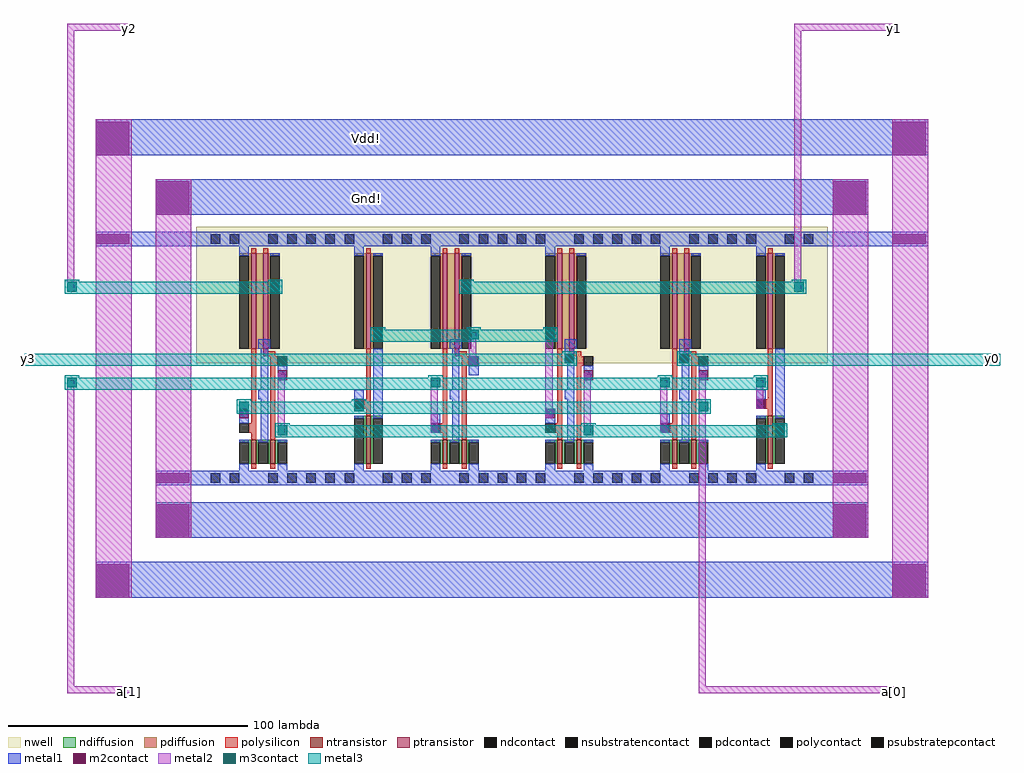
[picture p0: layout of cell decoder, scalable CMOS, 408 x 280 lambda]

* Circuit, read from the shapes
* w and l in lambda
.subckt decoder Gnd! Vdd! a[0] a[1] y0 y1 y2 y3
M1 y2 a[0] Gnd! Gnd! nfet w=10 l=2
M2 Gnd! NOR2X1_0/B y2 Gnd! nfet w=10 l=2
M3 NOR2X1_2/A a[0] Gnd! Gnd! nfet w=20 l=2
M4 y1 a[1] Gnd! Gnd! nfet w=10 l=2
M5 Gnd! NOR2X1_2/A y1 Gnd! nfet w=10 l=2
M6 y3 NOR2X1_2/A Gnd! Gnd! nfet w=10 l=2
M7 Gnd! NOR2X1_0/B y3 Gnd! nfet w=10 l=2
M8 y0 a[1] Gnd! Gnd! nfet w=10 l=2
M9 Gnd! a[0] y0 Gnd! nfet w=10 l=2
M10 NOR2X1_0/B a[1] Gnd! Gnd! nfet w=20 l=2
M11 n1 a[0] Vdd! Vdd! pfet w=40 l=2
M12 y2 NOR2X1_0/B n1 Vdd! pfet w=40 l=2
M13 NOR2X1_2/A a[0] Vdd! Vdd! pfet w=40 l=2
M14 n2 a[1] Vdd! Vdd! pfet w=40 l=2
M15 y1 NOR2X1_2/A n2 Vdd! pfet w=40 l=2
M16 n3 NOR2X1_2/A Vdd! Vdd! pfet w=40 l=2
M17 y3 NOR2X1_0/B n3 Vdd! pfet w=40 l=2
M18 n4 a[1] Vdd! Vdd! pfet w=40 l=2
M19 y0 a[0] n4 Vdd! pfet w=40 l=2
M20 NOR2X1_0/B a[1] Vdd! Vdd! pfet w=40 l=2
.ends

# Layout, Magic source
magic
tech scmos
<< metal1 >>
rect 30 225 378 240
rect 55 200 353 215
rect 30 187 378 193
rect 226 138 230 148
rect 274 138 278 148
rect 55 87 353 93
rect 55 65 353 80
rect 30 40 378 55
<< metal2 >>
rect 18 277 45 280
rect 322 277 365 280
rect 18 168 21 277
rect 18 3 21 131
rect 30 40 45 240
rect 55 65 70 215
rect 322 168 325 277
rect 186 137 189 151
rect 106 108 109 134
rect 170 109 173 131
rect 218 115 221 151
rect 234 108 237 134
rect 266 109 269 131
rect 282 3 285 134
rect 306 119 309 131
rect 338 65 353 215
rect 363 40 378 240
rect 18 0 45 3
rect 282 0 365 3
<< metal3 >>
rect 17 167 107 172
rect 182 167 326 172
rect 145 147 222 152
rect 0 137 230 142
rect 273 137 408 142
rect 17 127 310 132
rect 89 117 286 122
rect 105 107 318 112
use $$M2_M1_1500_1500_3_3  $$M2_M1_1500_1500_3_3_0
transform 1 0 37 0 1 232
box -7 -7 7 7
use $$M2_M1_1500_1500_3_3  $$M2_M1_1500_1500_3_3_1
transform 1 0 370 0 1 232
box -7 -7 7 7
use $$M2_M1_1500_1500_3_3  $$M2_M1_1500_1500_3_3_2
transform 1 0 62 0 1 207
box -7 -7 7 7
use $$M2_M1_1500_1500_3_3  $$M2_M1_1500_1500_3_3_3
transform 1 0 345 0 1 207
box -7 -7 7 7
use $$M2_M1_1500_1500_3_1  $$M2_M1_1500_1500_3_1_0
transform 1 0 37 0 1 190
box -7 -2 7 2
use $$M3_M2  $$M3_M2_0
transform 1 0 20 0 1 170
box -3 -3 3 3
use $$M3_M2  $$M3_M2_7
transform 1 0 20 0 1 130
box -3 -3 3 3
use $$M2_M1_1500_1500_3_1  $$M2_M1_1500_1500_3_1_2
transform 1 0 62 0 1 90
box -7 -2 7 2
use $$M2_M1  $$M2_M1_0
transform 1 0 105 0 1 170
box -2 -2 2 2
use $$M3_M2  $$M3_M2_1
transform 1 0 105 0 1 170
box -3 -3 3 3
use $$M3_M2  $$M3_M2_13
transform 1 0 92 0 1 120
box -3 -3 3 3
use $$M2_M1  $$M2_M1_11
transform 1 0 92 0 1 117
box -2 -2 2 2
use FILL  FILL_0
transform -1 0 88 0 1 90
box -8 -3 16 105
use $$M2_M1  $$M2_M1_3
transform 1 0 108 0 1 133
box -2 -2 2 2
use $$M3_M2  $$M3_M2_16
transform 1 0 108 0 1 110
box -3 -3 3 3
use NOR2X1  NOR2X1_0
transform 1 0 88 0 1 90
box -8 -3 32 105
use FILL  FILL_1
transform -1 0 120 0 1 90
box -8 -3 16 105
use FILL  FILL_2
transform -1 0 128 0 1 90
box -8 -3 16 105
use $$M2_M1  $$M2_M1_2
transform 1 0 148 0 1 150
box -2 -2 2 2
use $$M3_M2  $$M3_M2_4
transform 1 0 148 0 1 150
box -3 -3 3 3
use $$M2_M1  $$M2_M1_9
transform 1 0 140 0 1 121
box -2 -2 2 2
use $$M3_M2  $$M3_M2_14
transform 1 0 140 0 1 120
box -3 -3 3 3
use FILL  FILL_3
transform -1 0 136 0 1 90
box -8 -3 16 105
use INVX2  INVX2_0
transform 1 0 136 0 1 90
box -9 -3 26 105
use FILL  FILL_4
transform -1 0 160 0 1 90
box -8 -3 16 105
use $$M2_M1  $$M2_M1_1
transform 1 0 185 0 1 170
box -2 -2 2 2
use $$M3_M2  $$M3_M2_2
transform 1 0 185 0 1 170
box -3 -3 3 3
use $$M3_M2  $$M3_M2_10
transform 1 0 172 0 1 130
box -3 -3 3 3
use $$M2_M1  $$M2_M1_13
transform 1 0 172 0 1 111
box -2 -2 2 2
use FILL  FILL_5
transform -1 0 168 0 1 90
box -8 -3 16 105
use $$M3_M2  $$M3_M2_5
transform 1 0 188 0 1 150
box -3 -3 3 3
use $$M2_M1  $$M2_M1_6
transform 1 0 188 0 1 139
box -2 -2 2 2
use NOR2X1  NOR2X1_1
transform 1 0 168 0 1 90
box -8 -3 32 105
use FILL  FILL_6
transform -1 0 200 0 1 90
box -8 -3 16 105
use FILL  FILL_7
transform -1 0 208 0 1 90
box -8 -3 16 105
use $$M3_M2  $$M3_M2_6
transform 1 0 220 0 1 150
box -3 -3 3 3
use $$M2_M1  $$M2_M1_4
transform 1 0 228 0 1 140
box -2 -2 2 2
use $$M3_M2  $$M3_M2_8
transform 1 0 228 0 1 140
box -3 -3 3 3
use $$M2_M1  $$M2_M1_12
transform 1 0 220 0 1 117
box -2 -2 2 2
use FILL  FILL_8
transform -1 0 216 0 1 90
box -8 -3 16 105
use $$M2_M1  $$M2_M1_7
transform 1 0 236 0 1 133
box -2 -2 2 2
use $$M3_M2  $$M3_M2_17
transform 1 0 236 0 1 110
box -3 -3 3 3
use NOR2X1  NOR2X1_2
transform 1 0 216 0 1 90
box -8 -3 32 105
use FILL  FILL_9
transform -1 0 248 0 1 90
box -8 -3 16 105
use FILL  FILL_10
transform -1 0 256 0 1 90
box -8 -3 16 105
use $$M2_M1  $$M2_M1_5
transform 1 0 276 0 1 140
box -2 -2 2 2
use $$M3_M2  $$M3_M2_9
transform 1 0 276 0 1 140
box -3 -3 3 3
use $$M3_M2  $$M3_M2_11
transform 1 0 268 0 1 130
box -3 -3 3 3
use $$M2_M1  $$M2_M1_14
transform 1 0 268 0 1 111
box -2 -2 2 2
use FILL  FILL_11
transform -1 0 264 0 1 90
box -8 -3 16 105
use $$M2_M1  $$M2_M1_8
transform 1 0 284 0 1 133
box -2 -2 2 2
use $$M3_M2  $$M3_M2_15
transform 1 0 284 0 1 120
box -3 -3 3 3
use NOR2X1  NOR2X1_3
transform 1 0 264 0 1 90
box -8 -3 32 105
use FILL  FILL_12
transform -1 0 296 0 1 90
box -8 -3 16 105
use $$M3_M2  $$M3_M2_3
transform 1 0 324 0 1 170
box -3 -3 3 3
use $$M3_M2  $$M3_M2_12
transform 1 0 308 0 1 130
box -3 -3 3 3
use $$M2_M1  $$M2_M1_10
transform 1 0 308 0 1 121
box -2 -2 2 2
use FILL  FILL_13
transform -1 0 304 0 1 90
box -8 -3 16 105
use $$M2_M1  $$M2_M1_15
transform 1 0 316 0 1 110
box -2 -2 2 2
use $$M3_M2  $$M3_M2_18
transform 1 0 316 0 1 110
box -3 -3 3 3
use INVX2  INVX2_1
transform 1 0 304 0 1 90
box -9 -3 26 105
use FILL  FILL_14
transform -1 0 328 0 1 90
box -8 -3 16 105
use $$M2_M1_1500_1500_3_1  $$M2_M1_1500_1500_3_1_1
transform 1 0 370 0 1 190
box -7 -2 7 2
use $$M2_M1_1500_1500_3_1  $$M2_M1_1500_1500_3_1_3
transform 1 0 345 0 1 90
box -7 -2 7 2
use $$M2_M1_1500_1500_3_3  $$M2_M1_1500_1500_3_3_4
transform 1 0 62 0 1 72
box -7 -7 7 7
use $$M2_M1_1500_1500_3_3  $$M2_M1_1500_1500_3_3_5
transform 1 0 345 0 1 72
box -7 -7 7 7
use $$M2_M1_1500_1500_3_3  $$M2_M1_1500_1500_3_3_6
transform 1 0 37 0 1 47
box -7 -7 7 7
use $$M2_M1_1500_1500_3_3  $$M2_M1_1500_1500_3_3_7
transform 1 0 370 0 1 47
box -7 -7 7 7
<< labels >>
flabel metal3 2 140 2 140 4 FreeSans 26 0 0 0 y3
flabel metal2 364 278 364 278 4 FreeSans 26 0 0 0 y1
flabel metal2 44 278 44 278 4 FreeSans 26 0 0 0 y2
flabel metal3 405 140 405 140 4 FreeSans 26 0 0 0 y0
flabel metal2 364 1 364 1 4 FreeSans 26 0 0 0 a[0]
flabel metal2 44 1 44 1 4 FreeSans 26 0 0 0 a[1]
rlabel metal1 143 232 143 232 1 Vdd!
rlabel metal1 143 207 143 207 1 Gnd!
<< end >>

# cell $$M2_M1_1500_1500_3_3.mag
magic
tech scmos
<< m2contact >>
rect -7 -7 7 7
<< end >>

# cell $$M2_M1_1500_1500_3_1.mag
magic
tech scmos
<< m2contact >>
rect -7 -2 7 2
<< end >>

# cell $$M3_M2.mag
magic
tech scmos
<< m3contact >>
rect -2 -2 2 2
<< metal3 >>
rect -3 2 3 3
rect -3 -2 -2 2
rect 2 -2 3 2
rect -3 -3 3 -2
<< end >>

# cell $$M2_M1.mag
magic
tech scmos
<< m2contact >>
rect -2 -2 2 2
<< end >>

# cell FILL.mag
magic
tech scmos
<< nwell >>
rect -8 48 16 105
<< psubstratepcontact >>
rect -2 -2 2 2
rect 6 -2 10 2
<< nsubstratencontact >>
rect -2 98 2 102
rect 6 98 10 102
<< metal1 >>
rect -2 102 10 103
rect 2 98 6 102
rect -2 97 10 98
rect -2 2 10 3
rect 2 -2 6 2
rect -2 -3 10 -2
<< labels >>
flabel metal1 4 100 4 100 4 FreeSans 26 0 0 0 vdd
flabel metal1 4 0 4 0 4 FreeSans 26 0 0 0 gnd
<< end >>

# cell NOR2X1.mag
magic
tech scmos
<< nwell >>
rect -8 48 32 105
<< ntransistor >>
rect 7 6 9 16
rect 15 6 17 16
<< ptransistor >>
rect 7 54 9 94
rect 12 54 14 94
<< ndiffusion >>
rect 2 15 7 16
rect 6 6 7 15
rect 9 15 15 16
rect 9 6 10 15
rect 14 6 15 15
rect 17 15 22 16
rect 17 6 18 15
<< pdiffusion >>
rect 2 93 7 94
rect 6 54 7 93
rect 9 54 12 94
rect 14 93 19 94
rect 14 54 15 93
<< ndcontact >>
rect 2 6 6 15
rect 10 6 14 15
rect 18 6 22 15
<< pdcontact >>
rect 2 54 6 93
rect 15 54 19 93
<< psubstratepcontact >>
rect -2 -2 2 2
rect 14 -2 18 2
<< nsubstratencontact >>
rect -2 98 2 102
rect 14 98 18 102
<< polysilicon >>
rect 7 94 9 96
rect 12 94 14 96
rect 7 23 9 54
rect 12 53 14 54
rect 12 51 17 53
rect 6 19 9 23
rect 7 16 9 19
rect 15 47 18 51
rect 15 16 17 47
rect 7 4 9 6
rect 15 4 17 6
<< polycontact >>
rect 2 19 6 23
rect 18 47 22 51
<< metal1 >>
rect -2 102 26 103
rect 2 98 14 102
rect 18 98 26 102
rect -2 97 26 98
rect 2 93 6 97
rect 15 93 19 94
rect 10 54 15 58
rect 11 37 14 54
rect 18 43 22 47
rect 10 33 14 37
rect 2 23 6 27
rect 11 16 14 33
rect 2 15 6 16
rect 10 15 14 16
rect 18 15 22 16
rect 2 3 6 6
rect 18 3 22 6
rect -2 2 26 3
rect 2 -2 14 2
rect 18 -2 26 2
rect -2 -3 26 -2
<< labels >>
flabel metal1 4 100 4 100 4 FreeSans 26 0 0 0 vdd
flabel metal1 20 45 20 45 4 FreeSans 26 0 0 0 B
flabel metal1 4 0 4 0 4 FreeSans 26 0 0 0 gnd
flabel metal1 12 35 12 35 4 FreeSans 26 0 0 0 Y
flabel metal1 4 25 4 25 4 FreeSans 26 0 0 0 A
<< end >>

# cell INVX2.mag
magic
tech scmos
<< nwell >>
rect -9 48 26 105
<< ntransistor >>
rect 7 6 9 26
<< ptransistor >>
rect 7 54 9 94
<< ndiffusion >>
rect 2 25 7 26
rect 6 6 7 25
rect 9 25 14 26
rect 9 6 10 25
<< pdiffusion >>
rect 2 93 7 94
rect 6 54 7 93
rect 9 93 14 94
rect 9 54 10 93
<< ndcontact >>
rect 2 6 6 25
rect 10 6 14 25
<< pdcontact >>
rect 2 54 6 93
rect 10 54 14 93
<< psubstratepcontact >>
rect -2 -2 2 2
<< nsubstratencontact >>
rect -2 98 2 102
<< polysilicon >>
rect 7 94 9 96
rect 7 33 9 54
rect 6 29 9 33
rect 7 26 9 29
rect 7 4 9 6
<< polycontact >>
rect 2 29 6 33
<< metal1 >>
rect -2 102 18 103
rect 2 98 18 102
rect -2 97 18 98
rect 2 93 6 97
rect 10 93 14 94
rect 2 33 6 37
rect 2 25 6 26
rect 10 25 14 54
rect 2 3 6 6
rect -2 2 18 3
rect 2 -2 18 2
rect -2 -3 18 -2
<< labels >>
flabel metal1 4 100 4 100 4 FreeSans 26 0 0 0 vdd
flabel metal1 4 0 4 0 4 FreeSans 26 0 0 0 gnd
flabel metal1 12 45 12 45 4 FreeSans 26 0 0 0 Y
flabel metal1 4 35 4 35 4 FreeSans 26 0 0 0 A
<< end >>
